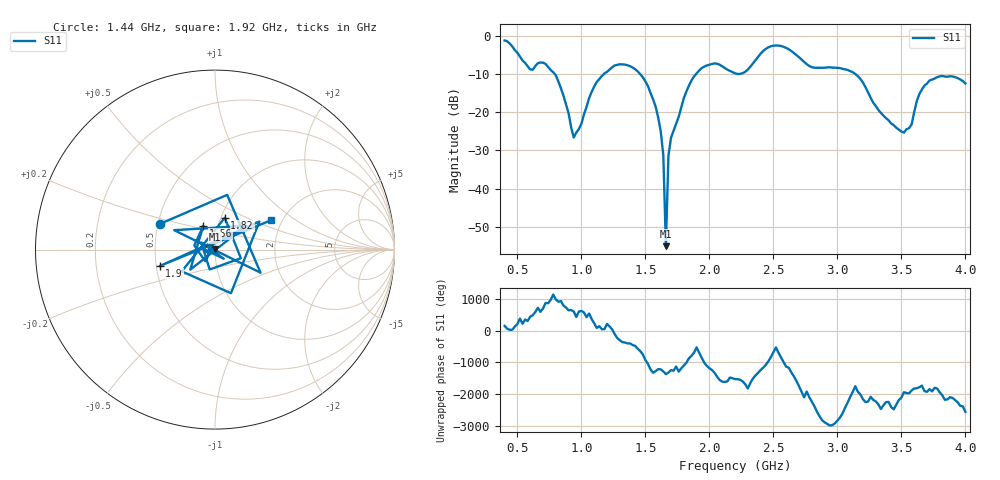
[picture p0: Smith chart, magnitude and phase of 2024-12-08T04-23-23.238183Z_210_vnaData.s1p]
!Created with skrf (http://scikit-rf.org).
# Hz S RI R 50.0
!freq ReS11 ImS11
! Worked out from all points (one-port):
!   181 points, 400 MHz to 4 GHz, reference 50 ohm
!   lowest |S11| = -55.1 dB at 1.66 GHz (marker M1), VSWR 1.00, Z = 50.1 + j0.168 ohm
!   |S11| at or under -10 dB: 790.3 MHz to 1.177 GHz (386.5 MHz wide, 39.3 % of centre); 1.457 GHz to 1.897 GHz (439.6 MHz wide, 26.2 % of centre); 3.139 GHz to end of sweep (the widest 3 of 4)
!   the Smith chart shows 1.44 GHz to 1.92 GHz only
!   S11 on the Smith chart (normalised r, x): 1.44 GHz: 0.51, +0.16; 1.56 GHz: 0.85, +0.23; 1.82 GHz: 1.04, +0.38; 1.9 GHz: 0.52, -0.11; 1.92 GHz: 1.75, +0.65
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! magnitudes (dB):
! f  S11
! 400 MHz  -1.3
! 600 MHz  -8.8
! 720 MHz  -7.4
! 860 MHz  -15.7
! 940 MHz  -26.6
! 1.12 GHz  -12.1
! 1.3 GHz  -7.5
! 1.44 GHz  -9.4
! 1.56 GHz  -16.7
! 1.62 GHz  -25.1
! 1.64 GHz  -31.3
! 1.66 GHz  -55.1
! 1.68 GHz  -31.4
! 1.7 GHz  -26.7
! 1.76 GHz  -21.3
! 1.82 GHz  -14.6
! 1.9 GHz  -9.9
! 1.92 GHz  -9.1
! 2.2 GHz  -9.9
! 2.48 GHz  -2.8
! 2.66 GHz  -4.6
! 2.8 GHz  -8.3
! 3.1 GHz  -9.3
! 3.42 GHz  -23.0
! 3.56 GHz  -24.2
! 3.64 GHz  -15.3
! 3.72 GHz  -11.7
! 4 GHz  -12.5
